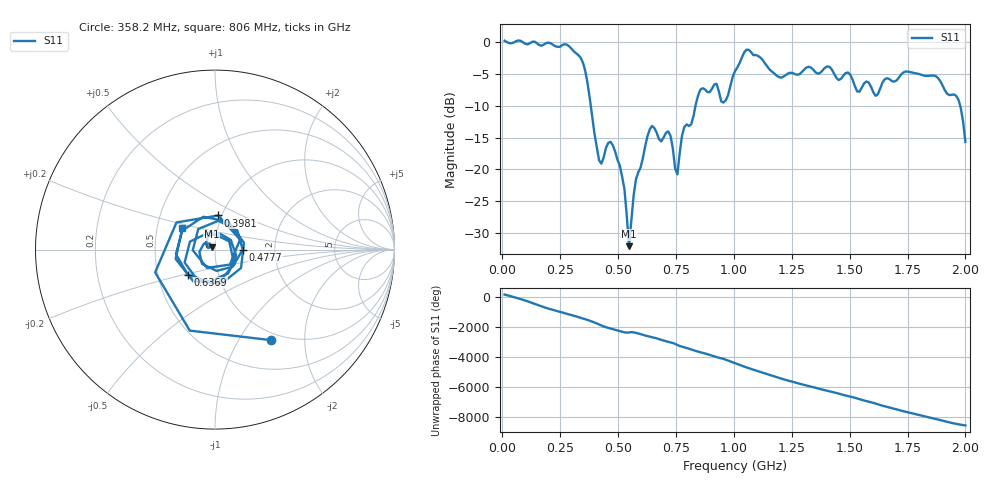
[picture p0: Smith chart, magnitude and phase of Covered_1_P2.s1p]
!Created with skrf (http://scikit-rf.org).
# Hz S RI R 50.0
!freq ReS11 ImS11
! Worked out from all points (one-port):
!   201 points, 10 MHz to 2 GHz, reference 50 ohm
!   lowest |S11| = -32.0 dB at 547.3 MHz (marker M1), VSWR 1.05, Z = 48.1 + j1.53 ohm
!   |S11| at or under -10 dB: 382.1 MHz to 834.6 MHz (452.5 MHz wide, 74.4 % of centre); 1.977 GHz to end of sweep
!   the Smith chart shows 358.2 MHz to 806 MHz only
!   S11 on the Smith chart (normalised r, x): 358.2 MHz: 0.89, -1.38; 398.1 MHz: 0.96, +0.38; 477.6 MHz: 1.36, +0.00; 636.9 MHz: 0.71, -0.21; 806 MHz: 0.67, +0.17
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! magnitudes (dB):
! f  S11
! 10 MHz  0.2
! 258.8 MHz  -0.5
! 358.2 MHz  -4.6
! 398.1 MHz  -14.4
! 427.9 MHz  -19.1
! 477.6 MHz  -16.2
! 507.5 MHz  -19.4
! 527.4 MHz  -23.1
! 547.3 MHz  -32.0
! 577.1 MHz  -21.5
! 636.9 MHz  -13.7
! 716.5 MHz  -14.0
! 756.2 MHz  -20.8
! 776.1 MHz  -14.7
! 806 MHz  -13.2
! 855.8 MHz  -7.5
! 925.4 MHz  -6.6
! 955.2 MHz  -9.5
! 1.005 GHz  -4.6
! 1.055 GHz  -1.2
! 1.254 GHz  -4.9
! 1.502 GHz  -5.1
! 1.532 GHz  -7.8
! 1.572 GHz  -6.2
! 1.612 GHz  -8.5
! 1.751 GHz  -4.7
! 1.96 GHz  -8.5
! 2 GHz  -15.7
